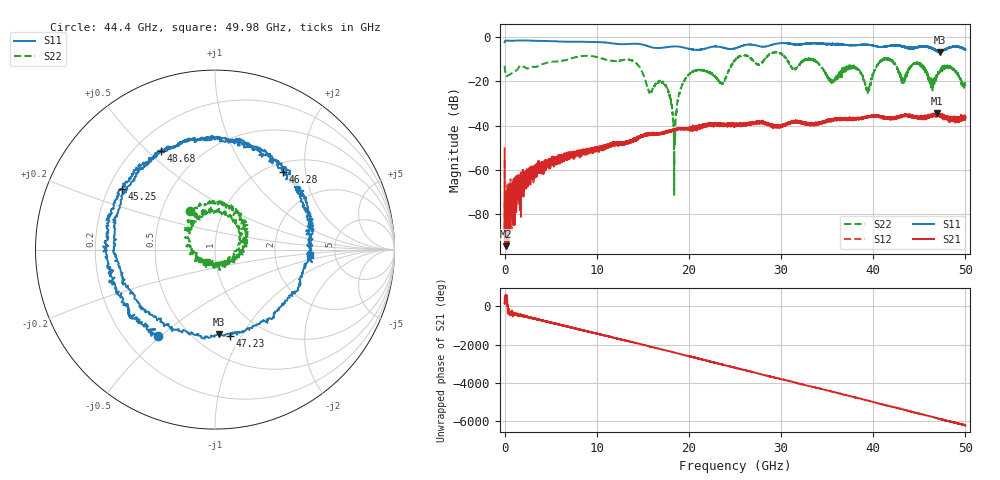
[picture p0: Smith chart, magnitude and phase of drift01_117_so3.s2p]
!Created with skrf (http://scikit-rf.org).
# Hz S RI R 50.0
!freq ReS11 ImS11 ReS21 ImS21 ReS12 ImS12 ReS22 ImS22
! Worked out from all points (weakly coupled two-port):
!   10001 points, 300 kHz to 50 GHz, reference 50 ohm
!   highest |S21| = -34.47 dB at 46.9 GHz (marker M1); lowest = -94.8 dB at 100.3 MHz (marker M2)
!   lowest |S11| = -6.5 dB at 47.28 GHz (marker M3), VSWR 2.78, Z = 32.9 - j39.8 ohm
!   |S11| at or under -10 dB: nowhere
!   |S22| runs from -71.5 to -6.6 dB; largest |S21 - S12| = 0.0043
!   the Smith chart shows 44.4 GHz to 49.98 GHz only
!   S11 on the Smith chart (normalised r, x): 44.4 GHz: 0.34, -0.49; 45.25 GHz: 0.26, +0.28; 46.28 GHz: 1.18, +1.51; 47.23 GHz: 0.71, -0.90; 48.68 GHz: 0.31, +0.55; 49.98 GHz: 3.23, -0.29
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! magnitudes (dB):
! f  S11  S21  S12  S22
! 300 kHz  -2.2  -50.4  -55.8  -12.9
! 100.3 MHz  -1.5  -94.8  -74.9  -16.7
! 8.335 GHz  -1.9  -52.9  -51.2  -8.5
! 16.67 GHz  -4.8  -43.9  -43.8  -20.0
! 17.74 GHz  -4.3  -42.9  -43.0  -24.3
! 18.45 GHz  -4.1  -42.2  -41.9  -45.1
! 19.93 GHz  -5.1  -41.4  -41.7  -17.2
! 23.62 GHz  -4.5  -39.7  -39.7  -20.9
! 25 GHz  -5.0  -39.4  -39.4  -10.3
! 33.34 GHz  -2.6  -39.7  -39.2  -9.9
! 39.45 GHz  -3.3  -36.0  -36.0  -23.7
! 41.67 GHz  -3.8  -36.5  -36.9  -10.2
! 43.19 GHz  -4.1  -35.4  -35.5  -19.0
! 44.4 GHz  -4.8  -35.8  -36.2  -11.8
! 45.25 GHz  -4.2  -36.0  -36.1  -12.6
! 46.28 GHz  -4.8  -35.6  -35.2  -22.1
! 46.9 GHz  -6.0  -34.5  -34.9  -17.8
! 47.23 GHz  -6.2  -35.5  -35.4  -15.2
! 47.28 GHz  -6.5  -35.5  -35.3  -15.5
! 48.68 GHz  -4.1  -37.1  -36.3  -14.2
! 49.98 GHz  -5.5  -35.8  -36.0  -21.7
! 50 GHz  -5.4  -36.5  -36.6  -21.8
